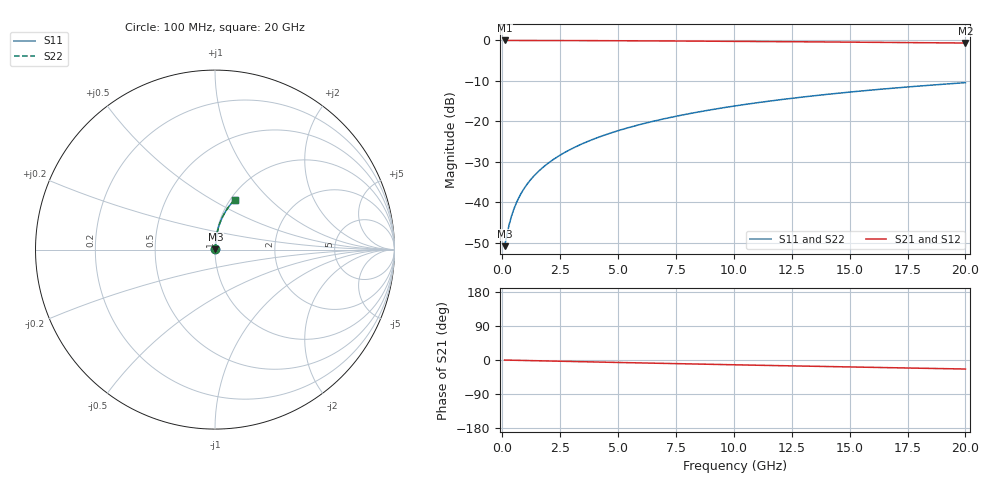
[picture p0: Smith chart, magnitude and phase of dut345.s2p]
! Touchstone file exported from HFSS 2024.1.0
!  File:  C:/UserFiles/LocalFiles/RDL_TSV_Batchsim/temp_RDL_top_345_1779607953.aedt
!  Generated:  03:35:02 PM May 24, 2026
!  Design:  RDL_top
!  Project:  temp_RDL_top_345_1779607953
!  Setup:  Setup1
!  Solution:  Sweep
! Variables:
!  dtsv = 10.80580581um
!  hbump = 3um
!  htsv = 83.87um
!  ldown = 100um
!  lrdl = 258.65um
!  p = 40
!  p1 = 52.68um
!  rhole = 1um
!  t = 450um
!  tdown = 3.915915916um
!  trdl = 2.98um
!  wdown = 15.38538539um
!  wrdl = 14.06um
# GHz S MA R 50.000000
! Terminal data exported
! Port[1] = Box2_T1
! Port[2] = Box2_T2
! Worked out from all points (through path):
!   200 points, 100 MHz to 20 GHz, reference 50 ohm
!   highest |S21| = -0.02 dB at 100 MHz (marker M1); lowest = -0.7 dB at 20 GHz (marker M2)
!   group delay of S21, straight-line fit = 3.3 ps
!   lowest |S11| = -50.9 dB at 100 MHz (marker M3), VSWR 1.01, Z = 50.2 + j0.159 ohm
!   |S11| at or under -10 dB: start of sweep to end of sweep
!   |S22| runs from -50.9 to -10.5 dB; largest |S21 - S12| = 4.1e-15
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0.1  0.002851 33.6  0.9976 -0.1  0.9976 -0.1  0.002851 33.6
! Gamma 0 0 0 0
! Port Impedance 50 0 50 0
0.2  0.003966 52.6  0.9976 -0.3  0.9976 -0.3  0.003966 52.6
0.3  0.005311 62.4  0.9975 -0.4  0.9975 -0.4  0.005311 62.4
0.4  0.006737 68.0  0.9975 -0.5  0.9975 -0.5  0.006737 68.0
0.5  0.008194 71.6  0.9974 -0.7  0.9974 -0.7  0.008194 71.6
0.6  0.009663 74.1  0.9973 -0.8  0.9973 -0.8  0.009662 74.1
0.8  0.01262 77.3  0.9971 -1.1  0.9971 -1.1  0.01262 77.3
1.1  0.01707 80.0  0.9969 -1.5  0.9969 -1.5  0.01707 80.0
1.5  0.02305 81.9  0.9965 -2.0  0.9965 -2.0  0.02305 81.9
1.8  0.02755 82.8  0.9962 -2.4  0.9962 -2.4  0.02755 82.8
2.1  0.03208 83.3  0.9958 -2.8  0.9958 -2.8  0.03208 83.3
2.7  0.04116 83.9  0.995 -3.6  0.995 -3.6  0.04116 83.9
3.5  0.05335 84.1  0.9935 -4.6  0.9935 -4.6  0.05335 84.1
4.2  0.06408 83.9  0.992 -5.5  0.992 -5.5  0.06408 83.9
5  0.0764 83.6  0.99 -6.5  0.99 -6.5  0.0764 83.6
5.9  0.09032 83.0  0.9874 -7.6  0.9874 -7.6  0.09032 83.0
6.8  0.1043 82.3  0.9846 -8.8  0.9846 -8.8  0.1043 82.3
8.3  0.1276 81.0  0.9795 -10.6  0.9795 -10.6  0.1276 81.0
10.1  0.1554 79.2  0.9727 -12.7  0.9727 -12.7  0.1554 79.2
13.4  0.2056 75.6  0.9589 -16.6  0.9589 -16.6  0.2056 75.6
16.7  0.254 72.0  0.9436 -20.2  0.9436 -20.2  0.254 72.0
20  0.2999 68.4  0.9273 -23.8  0.9273 -23.8  0.2999 68.4
